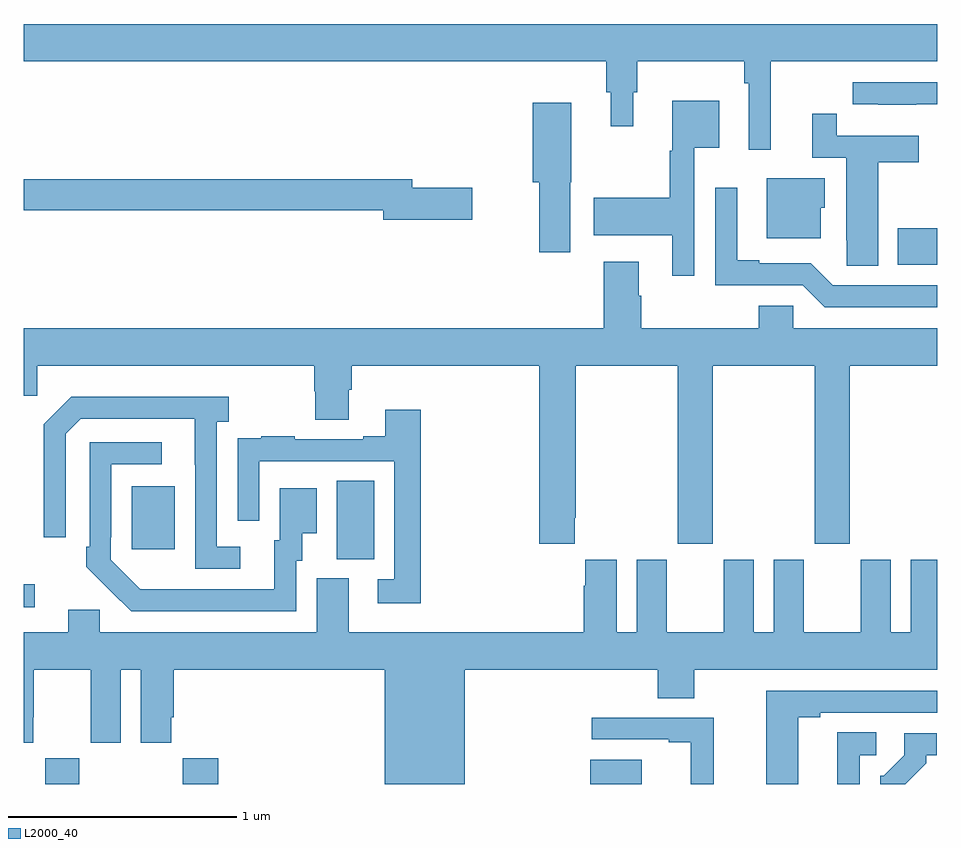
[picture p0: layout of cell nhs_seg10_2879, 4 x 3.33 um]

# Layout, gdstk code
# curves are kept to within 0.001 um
import gdstk
lib = gdstk.Library(unit=1e-6, precision=1e-09)
def R(c, l, rs):  # rectangles x0, y0, x1, y1
    for r in rs: c.add(gdstk.rectangle(r[:2], r[2:], *l))
def P(c, l, *ps):  # polygons
    for p in ps: c.add(gdstk.Polygon(p, *l))
L2000_40 = (2000, 40)

nhs_seg10_2879 = lib.new_cell('nhs_seg10_2879')
R(nhs_seg10_2879, L2000_40, [(267.093,1282.5,267.243,1282.612), (267.697,1282.5,267.851,1282.612), (269.48,1282.5,269.707,1282.606), (267,1283.274,267.049,1283.375), (268.37,1283.485,268.534,1283.828), (267.473,1283.529,267.661,1283.803), (270.827,1284.773,271,1284.933)])
P(nhs_seg10_2879, L2000_40, [(270.272,1285.664),(271,1285.664),(271,1285.828),(267,1285.828),(267,1285.664),(269.551,1285.664),(269.551,1285.53),(269.57,1285.53),(269.57,1285.38),(269.668,1285.38),(269.668,1285.53),(269.687,1285.53),(269.687,1285.664),(270.154,1285.664),(270.154,1285.568),(270.174,1285.568),(270.174,1285.278),(270.272,1285.278)],
  [(270.908,1285.476),(271,1285.476),(271,1285.572),(270.63,1285.572),(270.63,1285.476),(270.742,1285.476),(270.742,1285.475),(270.908,1285.475)],
  [(269.937,1285.286),(270.046,1285.286),(270.046,1285.492),(269.84,1285.492),(269.84,1285.272),(269.829,1285.272),(269.829,1285.068),(269.496,1285.068),(269.496,1284.902),(269.84,1284.902),(269.84,1284.726),(269.937,1284.726)],
  [(269.392,1285.134),(269.398,1285.134),(269.398,1285.483),(269.228,1285.483),(269.228,1285.134),(269.258,1285.134),(269.258,1284.828),(269.392,1284.828)],
  [(270.742,1285.222),(270.919,1285.222),(270.919,1285.338),(270.56,1285.338),(270.56,1285.435),(270.452,1285.435),(270.452,1285.242),(270.602,1285.242),(270.602,1284.88),(270.603,1284.88),(270.603,1284.769),(270.742,1284.769)],
  [(270.49,1285.023),(270.508,1285.023),(270.508,1285.153),(270.254,1285.153),(270.254,1284.89),(270.49,1284.89)],
  [(268.963,1285.112),(268.702,1285.112),(268.702,1285.148),(267,1285.148),(267,1285.012),(268.574,1285.012),(268.574,1284.97),(268.963,1284.97)],
  [(271,1284.684),(270.543,1284.684),(270.447,1284.78),(270.22,1284.78),(270.22,1284.793),(270.124,1284.793),(270.124,1285.111),(270.027,1285.111),(270.027,1284.684),(270.411,1284.684),(270.507,1284.588),(271,1284.588)],
  [(269.413,1283.665),(269.418,1283.665),(269.418,1284.332),(269.863,1284.332),(269.863,1283.553),(270.018,1283.553),(270.018,1284.332),(270.463,1284.332),(270.463,1283.553),(270.618,1283.553),(270.618,1284.332),(271,1284.332),(271,1284.496),(270.369,1284.496),(270.369,1284.594),(270.218,1284.594),(270.218,1284.496),(269.705,1284.496),(269.705,1284.638),(269.692,1284.638),(269.692,1284.787),(269.54,1284.787),(269.54,1284.496),(267,1284.496),(267,1284.201),(267.06,1284.201),(267.06,1284.332),(268.271,1284.332),(268.271,1284.219),(268.276,1284.219),(268.276,1284.094),(268.423,1284.094),(268.423,1284.226),(268.436,1284.226),(268.436,1284.332),(269.258,1284.332),(269.258,1283.553),(269.413,1283.553)],
  [(267.949,1283.538),(267.846,1283.538),(267.846,1284.086),(267.898,1284.086),(267.898,1284.196),(267.208,1284.196),(267.087,1284.075),(267.087,1283.58),(267.183,1283.58),(267.183,1284.033),(267.249,1284.099),(267.749,1284.099),(267.75,1283.442),(267.949,1283.442)],
  [(268.739,1284.139),(268.583,1284.139),(268.583,1284.022),(268.487,1284.022),(268.487,1284.009),(268.187,1284.009),(268.187,1284.022),(268.039,1284.022),(268.039,1284.015),(267.937,1284.015),(267.937,1283.906),(267.936,1283.906),(267.936,1283.652),(268.032,1283.652),(268.032,1283.913),(268.623,1283.913),(268.623,1283.397),(268.551,1283.397),(268.551,1283.292),(268.739,1283.292)],
  [(268.194,1283.478),(268.219,1283.478),(268.219,1283.597),(268.282,1283.597),(268.282,1283.794),(268.121,1283.794),(268.121,1283.568),(268.097,1283.568),(268.097,1283.352),(267.51,1283.353),(267.381,1283.481),(267.381,1283.581),(267.384,1283.581),(267.384,1283.901),(267.604,1283.901),(267.604,1283.997),(267.288,1283.997),(267.288,1283.539),(267.273,1283.539),(267.273,1283.451),(267.47,1283.256),(268.194,1283.256)],
  [(268.93,1283),(269.777,1283),(269.777,1282.876),(269.937,1282.876),(269.937,1283),(271,1283),(271,1283.482),(270.884,1283.482),(270.884,1283.164),(270.796,1283.164),(270.796,1283.482),(270.665,1283.482),(270.665,1283.164),(270.415,1283.164),(270.415,1283.482),(270.284,1283.482),(270.284,1283.164),(270.196,1283.164),(270.196,1283.482),(270.065,1283.482),(270.065,1283.164),(269.815,1283.164),(269.815,1283.482),(269.684,1283.482),(269.684,1283.164),(269.596,1283.164),(269.596,1283.482),(269.459,1283.482),(269.459,1283.369),(269.453,1283.369),(269.453,1283.164),(268.423,1283.164),(268.423,1283.4),(268.283,1283.4),(268.283,1283.164),(267.333,1283.164),(267.333,1283.262),(267.194,1283.262),(267.194,1283.164),(267,1283.164),(267,1282.68),(267.042,1282.68),(267.042,1282.792),(267.043,1282.792),(267.043,1283),(267.293,1283),(267.293,1282.792),(267.294,1282.792),(267.294,1282.68),(267.424,1282.68),(267.424,1283),(267.512,1283),(267.512,1282.68),(267.646,1282.68),(267.646,1282.792),(267.656,1282.792),(267.656,1283),(268.58,1283),(268.58,1282.5),(268.93,1282.5)],
  [(270.391,1282.792),(270.487,1282.792),(270.487,1282.812),(271,1282.812),(271,1282.908),(270.251,1282.908),(270.251,1282.5),(270.391,1282.5)],
  [(270.021,1282.791),(269.487,1282.791),(269.487,1282.695),(269.825,1282.695),(269.825,1282.683),(269.921,1282.683),(269.921,1282.5),(270.021,1282.5)],
  [(270.66,1282.626),(270.733,1282.626),(270.733,1282.727),(270.563,1282.727),(270.563,1282.5),(270.66,1282.5)],
  [(270.952,1282.591),(270.952,1282.626),(270.997,1282.626),(270.997,1282.722),(270.855,1282.722),(270.855,1282.626),(270.765,1282.536),(270.75,1282.536),(270.75,1282.5),(270.861,1282.5)])

lib.write_gds('nhs_seg10_2879.gds')
